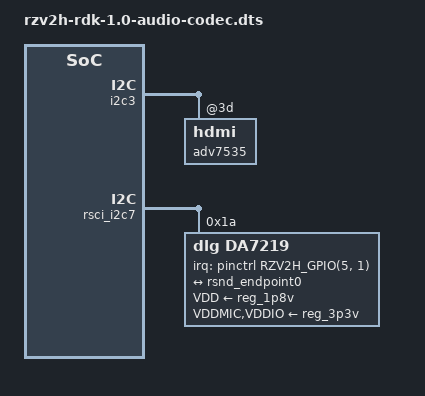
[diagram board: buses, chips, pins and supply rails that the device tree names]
// SPDX-License-Identifier: GPL-2.0+
/*
 * Device Tree Overlay for DA7219 Audio Codec on RZ/V2H RDK ver1
 * Copyright (C) 2025 Renesas Electronics Corporation
 */
/dts-v1/;
/plugin/;

#include <dt-bindings/pinctrl/rzv2h-pinctrl.h>
#include <dt-bindings/gpio/gpio.h>
#include <dt-bindings/interrupt-controller/irq.h>

&sound_card {
    dais = <&rsnd_port0>;
};

&pinctrl {
    sound_pins_codec: sound {
        pinmux = <RZV2H_PORT_PINMUX(9, 5, 7)>,  /* SSI0_SCK */
                 <RZV2H_PORT_PINMUX(9, 6, 7)>,  /* SSI0_WS */
                 <RZV2H_PORT_PINMUX(9, 7, 7)>,  /* SSI0_SDATA */
                 <RZV2H_PORT_PINMUX(A, 6, 7)>;  /* SSI9_SDATA */
    };
};

&i2c3 {
    adv7535: hdmi@3d {
        ports {
            port@2 { status = "disabled"; };
        };
    };
};

&rsci_i2c7 {
    status = "okay";
    #address-cells = <1>;
    #size-cells = <0>;

    da7219: da7219@1a {
        compatible = "dlg,da7219";
        #sound-dai-cells = <0>;
        #address-cells = <1>;
        #size-cells = <0>;
        reg = <0x1a>;

        dlg,micbias-lvl = <2600>;
        dlg,mic-amp-in-sel = "diff";
        VDD-supply = <&reg_1p8v>;
        VDDMIC-supply = <&reg_3p3v>;
        VDDIO-supply = <&reg_3p3v>;
        clock-names = "mclk";
        status = "okay";

        interrupt-parent = <&pinctrl>;
        interrupts = <RZV2H_GPIO(5, 1) IRQ_TYPE_LEVEL_LOW>;

        da7219_aad {
            dlg,btn-avg = <4>;
            dlg,adc-1bit-rpt = <1>;
            dlg,btn-cfg = <50>;
            dlg,mic-det-thr = <500>;
            dlg,jack-ins-deb = <20>;
            dlg,jack-det-rate = "32_64";
            dlg,jack-rem-deb = <1>;
            dlg,a-d-btn-thr = <0xa>;
            dlg,d-b-btn-thr = <0x16>;
            dlg,b-c-btn-thr = <0x21>;
            dlg,c-mic-btn-thr = <0x3E>;
        };

        port {
            da7219_endpoint: endpoint {
                remote-endpoint = <&rsnd_endpoint0>;
            };
        };
    };
};

&rcar_sound {
    pinctrl-0 = <&sound_pins_codec>;

    ports {
        /* Add DA7219 port */
        #address-cells = <1>;
        #size-cells = <0>;

        rsnd_port0: port@0 {
            reg = <0>;
            rsnd_endpoint0: endpoint {
                remote-endpoint = <&da7219_endpoint>;

                dai-format = "i2s";
                bitclock-master = <&rsnd_endpoint0>;
                frame-master = <&rsnd_endpoint0>;
                mclk-fs = <256>;

                playback = <&ssi0>;
                capture = <&ssi9>;
            };
        };
    };
};

&ssi9 {
    shared-pin;
};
